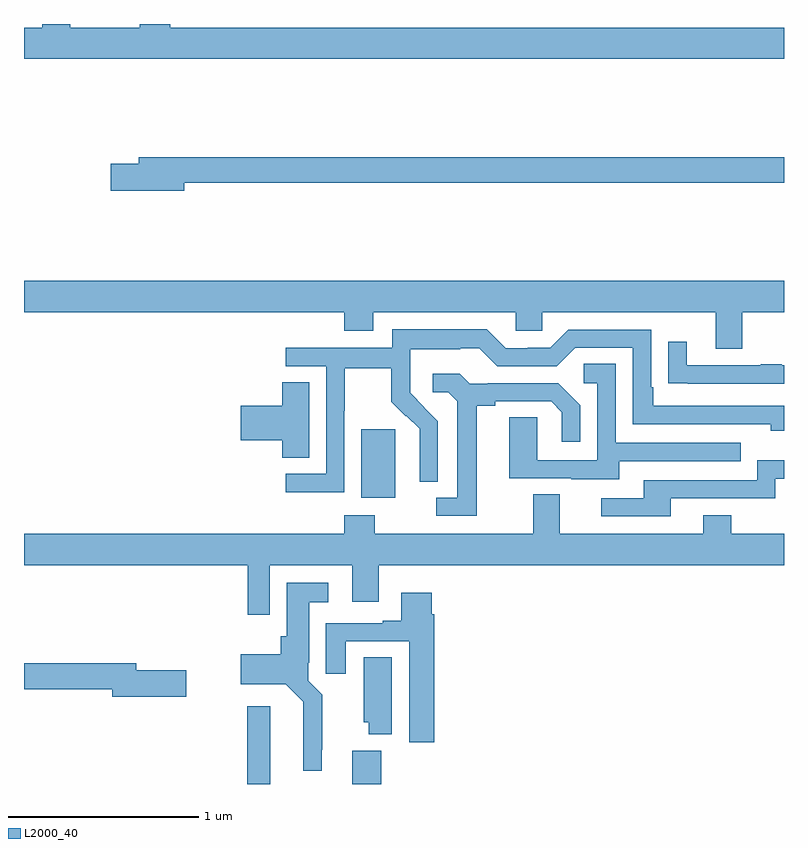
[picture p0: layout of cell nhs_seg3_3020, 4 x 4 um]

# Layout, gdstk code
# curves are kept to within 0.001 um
import gdstk
lib = gdstk.Library(unit=1e-6, precision=1e-09)
def R(c, l, rs):  # rectangles x0, y0, x1, y1
    for r in rs: c.add(gdstk.rectangle(r[:2], r[2:], *l))
def P(c, l, *ps):  # polygons
    for p in ps: c.add(gdstk.Polygon(p, *l))
L2000_40 = (2000, 40)

nhs_seg3_3020 = lib.new_cell('nhs_seg3_3020')
R(nhs_seg3_3020, L2000_40, [(268.175,730.4,268.297,730.81), (268.727,730.4,268.88,730.576), (268.775,731.906,268.954,732.267)])
P(nhs_seg3_3020, L2000_40, [(271,734.38),(267.77,734.38),(267.77,734.4),(267.61,734.4),(267.61,734.38),(267.243,734.38),(267.243,734.4),(267.096,734.4),(267.096,734.38),(267,734.38),(267,734.216),(271,734.216)],
  [(267.844,733.564),(271,733.564),(271,733.7),(267.605,733.7),(267.605,733.664),(267.456,733.664),(267.456,733.522),(267.844,733.522)],
  [(270.781,732.884),(271,732.884),(271,733.048),(267,733.048),(267,732.884),(268.685,732.884),(268.685,732.785),(268.837,732.785),(268.837,732.884),(269.589,732.884),(269.589,732.786),(269.727,732.786),(269.727,732.884),(270.641,732.884),(270.641,732.69),(270.781,732.69)],
  [(268.686,732.364),(268.689,732.364),(268.689,732.588),(268.933,732.588),(268.933,732.413),(269.01,732.336),(269.013,732.339),(269.084,732.269),(269.084,732.146),(269.082,732.146),(269.082,731.992),(269.178,731.992),(269.178,732.31),(269.032,732.458),(269.032,732.555),(269.034,732.555),(269.034,732.689),(269.297,732.689),(269.297,732.693),(269.397,732.693),(269.49,732.6),(269.805,732.6),(269.901,732.696),(270.204,732.696),(270.204,732.294),(270.929,732.294),(270.929,732.26),(271,732.26),(271,732.39),(270.313,732.39),(270.313,732.487),(270.3,732.487),(270.3,732.792),(269.865,732.792),(269.769,732.696),(269.651,732.696),(269.651,732.693),(269.535,732.693),(269.435,732.793),(268.938,732.793),(268.938,732.696),(268.377,732.696),(268.377,732.6),(268.59,732.6),(268.59,732.033),(268.377,732.033),(268.377,731.935),(268.686,731.935)],
  [(271,732.603),(270.989,732.603),(270.989,732.608),(270.877,732.608),(270.877,732.603),(270.487,732.603),(270.487,732.727),(270.391,732.727),(270.391,732.508),(270.493,732.508),(270.493,732.507),(271,732.507)],
  [(270.133,732.099),(270.773,732.099),(270.773,732.195),(270.114,732.195),(270.114,732.611),(269.946,732.611),(269.946,732.51),(270.018,732.51),(270.018,732.105),(269.7,732.105),(269.7,732.329),(269.555,732.329),(269.555,732.009),(269.879,732.009),(269.879,732.005),(270.133,732.005)],
  [(269.383,732.392),(269.479,732.392),(269.479,732.414),(269.774,732.414),(269.831,732.357),(269.831,732.201),(269.928,732.201),(269.928,732.394),(269.812,732.51),(269.44,732.51),(269.44,732.507),(269.346,732.507),(269.294,732.559),(269.151,732.559),(269.151,732.462),(269.232,732.462),(269.279,732.415),(269.279,731.907),(269.169,731.907),(269.169,731.811),(269.383,731.811)],
  [(268.501,732.515),(268.358,732.515),(268.358,732.392),(268.14,732.392),(268.14,732.209),(268.358,732.209),(268.358,732.118),(268.501,732.118)],
  [(270.403,731.904),(270.954,731.904),(270.954,732.006),(271,732.006),(271,732.103),(270.858,732.103),(270.858,732),(270.263,732),(270.263,731.904),(270.039,731.904),(270.039,731.808),(270.403,731.808)],
  [(268.293,731.552),(268.727,731.552),(268.727,731.358),(268.867,731.358),(268.867,731.552),(271,731.552),(271,731.716),(270.723,731.716),(270.723,731.815),(270.575,731.815),(270.575,731.716),(269.821,731.716),(269.821,731.924),(269.681,731.924),(269.681,731.716),(268.845,731.716),(268.845,731.815),(268.685,731.815),(268.685,731.716),(267,731.716),(267,731.552),(268.177,731.552),(268.177,731.292),(268.293,731.292)],
  [(268.567,730.579),(268.571,730.579),(268.571,730.87),(268.497,730.944),(268.497,731.038),(268.501,731.038),(268.501,731.357),(268.6,731.357),(268.6,731.458),(268.382,731.458),(268.382,731.178),(268.352,731.178),(268.352,731.083),(268.14,731.083),(268.14,730.925),(268.377,730.925),(268.47,730.832),(268.469,730.469),(268.567,730.469)],
  [(269.159,731.294),(269.146,731.294),(269.146,731.407),(268.985,731.407),(268.985,731.26),(268.889,731.26),(268.889,731.247),(268.589,731.247),(268.589,730.98),(268.693,730.98),(268.693,731.151),(269.027,731.151),(269.027,730.62),(269.159,730.62)],
  [(268.936,731.066),(268.787,731.066),(268.787,730.725),(268.814,730.725),(268.814,730.661),(268.936,730.661)],
  [(267.853,731),(267.592,731),(267.592,731.036),(267,731.036),(267,730.9),(267.464,730.9),(267.464,730.858),(267.853,730.858)])

lib.write_gds('nhs_seg3_3020.gds')
